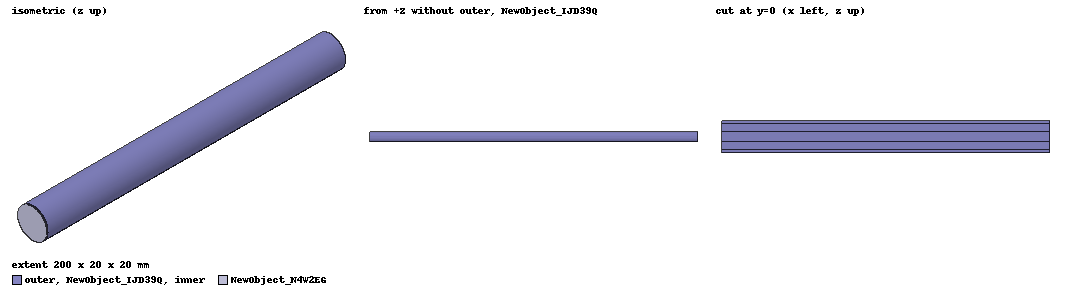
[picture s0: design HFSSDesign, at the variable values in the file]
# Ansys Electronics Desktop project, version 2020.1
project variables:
  $height = 10mm
  $dim = 5mm
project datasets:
  $my_materialconductivityTH0: (22, 1) (80, 0.8)
  $AluminumpermittivityTH0: (22, 1) (200, 0.6) (400, 0.39)
  $AluminumconductivityTH0: (22, 1) (200, 0.6) (400, 0.39)
  $AluminumconductivityFM0: (1000000000, 38000000) (2000000000, 38000000) (3000000000, 38000000)
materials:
  vacuum: permittivity=1
  my_material: thermal_modifier{Property=conductivity free_form_value=pwl($my_materialconductivityTH0,Temp)} permittivity=1 permeability=1 conductivity=650000000
  Aluminum: thermal_modifier{Property=permittivity free_form_value=pwl($AluminumpermittivityTH0,Temp)} thermal_modifier{Property=conductivity free_form_value=pwl($AluminumconductivityTH0,Temp)} permittivity{anisotropic component1=1 component2=1 component3=1} permeability=1.000021 conductivity=pwl($AluminumconductivityFM0,Freq)
  teflon_based: permittivity=2.08 dielectric_loss_tangent=0.001

design HFSSDesign (HFSS, DrivenModal, model units mm)
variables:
  height = 5mm
  dim = 5mm
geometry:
  inner [Aluminum] = cylinder(axis=X, base_centre=(0mm, 0mm, 0mm), radius=3mm, height=200mm)
  NewObject_IJD39Q [teflon_based] = cylinder(axis=X, base_centre=(0mm, 0mm, 0mm), radius=8mm, height=200mm)
  outer [Aluminum] = cylinder(axis=X, base_centre=(0mm, 0mm, 0mm), radius=10mm, height=200mm)
  NewObject_IJD39Q_1 = NewObject_IJD39Q.copy()
  outer.subtract(NewObject_IJD39Q_1)
  inner_1 = inner.copy()
  NewObject_IJD39Q.subtract(inner_1)
  NewObject_IJD39Q_2 = NewObject_IJD39Q.copy()
  outer.subtract(NewObject_IJD39Q_2)
  NewObject_V7O4LE = circle(normal=X, centre=(0mm, 0mm, 0mm), radius=10mm)
  NewObject_N4W2EG = circle(normal=X, centre=(200mm, 0mm, 0mm), radius=10mm)
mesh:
  ModelResolution1: DefeatureBased Objects=[inner, outer] auto length
  Length2: LengthBased Faces=NewObject_IJD39Q.face(all 4) NumMaxElem=2000 MaxLength=1mm
  initial mesh: GlobalSurfApproximation{CurvedSurfaceApproxChoice=UseSlider SliderMeshSettings=6}
